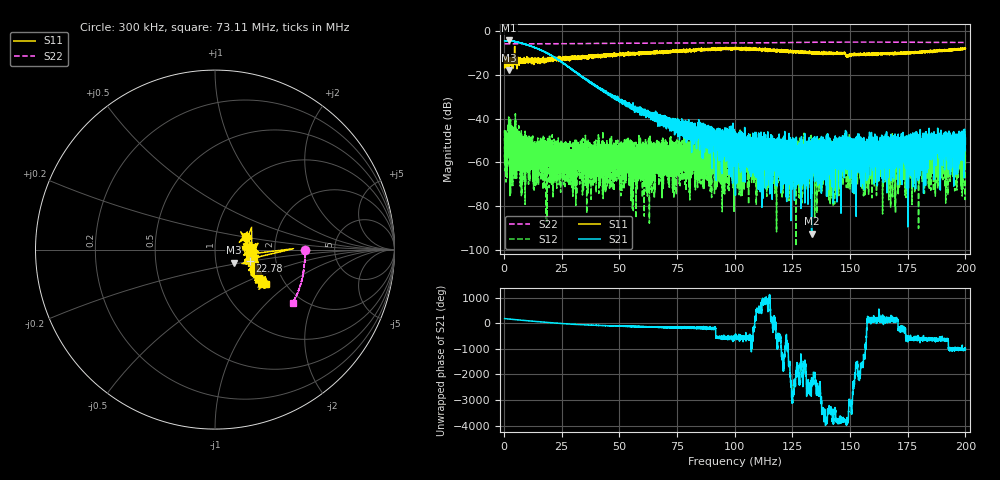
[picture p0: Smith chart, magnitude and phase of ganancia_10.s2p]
# Hz S DB R 50
! CMT, M5065, 19127446, 24.2.4/2
! Date: 11/8/2024 6:31:56 PM
! Data: Format (Calibration Info)
! Freq	S11:dB/Ang(F2)	S21:dB/Ang(F2)	S12:dB/Ang(F2)	S22:dB/Ang(F2)
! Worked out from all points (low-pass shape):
!   9000 points, 300 kHz to 200 MHz, reference 50 ohm
!   highest |S21| = -4.45 dB at 2.186 MHz (marker M1); lowest = -92.4 dB at 133.4 MHz (marker M2)
!   |S21| within 3 dB of the highest: start of sweep to 12.66 MHz; 12.69346 MHz to 12.71028 MHz (16.82 kHz wide, 0.132 % of centre)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
!   lowest |S11| = -17.9 dB at 2.231 MHz (marker M3), VSWR 1.29, Z = 60.9 - j8.93 ohm
!   |S11| at or under -10 dB: 4.661 MHz to 50.23 MHz (45.57 MHz wide, 166 % of centre); 147.8 MHz to 160.1 MHz (12.22 MHz wide, 7.94 % of centre); 160.1 MHz to 166.4 MHz (6.345 MHz wide, 3.89 % of centre)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
!   |S22| runs from -6.0 to -5.2 dB; largest |S21 - S12| = 0.6
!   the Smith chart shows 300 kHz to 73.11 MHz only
!   S11 on the Smith chart (normalised r, x): 300 kHz: 1.41, +0.20; 22.78 MHz: 1.47, -0.19; 73.11 MHz: 1.58, -0.73
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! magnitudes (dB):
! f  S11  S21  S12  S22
! 300 kHz  -14.5  -4.6  -45.2  -6.0
! 2.186 MHz  -14.6  -4.5  -51.7  -6.0
! 2.231 MHz  -17.9  -4.5  -46.2  -6.0
! 13.19 MHz  -13.0  -7.7  -70.4  -6.0
! 22.78 MHz  -13.7  -12.8  -60.1  -5.9
! 33.59 MHz  -11.8  -20.9  -62.5  -5.9
! 66.87 MHz  -9.8  -40.4  -54.7  -5.7
! 73.11 MHz  -9.2  -42.5  -52.0  -5.6
! 100.2 MHz  -8.0  -51.5  -58.4  -5.6
! 120.2 MHz  -9.3  -56.8  -63.3  -5.4
! 133.4 MHz  -10.0  -92.4  -59.1  -5.3
! 133.4 MHz  -10.0  -59.2  -62.4  -5.3
! 138.4 MHz  -10.1  -64.9  -64.0  -5.3
! 141.9 MHz  -10.0  -63.4  -49.8  -5.2
! 148.1 MHz  -11.0  -62.7  -50.9  -5.2
! 151.8 MHz  -10.5  -58.7  -55.5  -5.2
! 155.9 MHz  -11.1  -56.3  -56.7  -5.2
! 166.7 MHz  -10.2  -55.6  -60.4  -5.2
! 177 MHz  -10.0  -54.7  -64.9  -5.3
! 181 MHz  -9.2  -59.7  -52.8  -5.3
! 189 MHz  -9.2  -51.1  -67.5  -5.3
! 200 MHz  -8.1  -51.7  -53.7  -5.4
